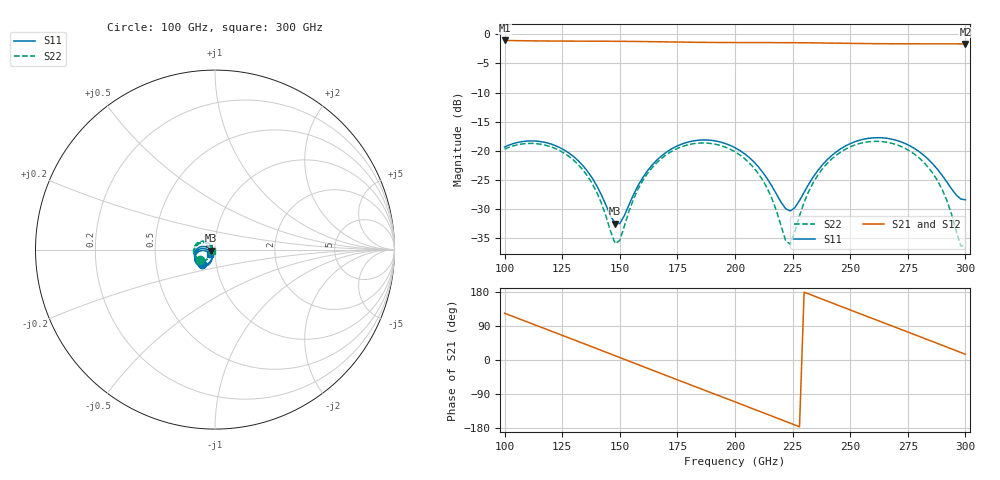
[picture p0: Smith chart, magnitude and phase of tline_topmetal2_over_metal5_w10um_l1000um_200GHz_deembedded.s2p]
! Created with skrf 2.0.1 (http://scikit-rf.org).
# GHz S DB R 50.0
!freq dBS11 angS11 dBS21 angS21 dBS12 angS12 dBS22 angS22
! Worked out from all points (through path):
!   101 points, 100 GHz to 300 GHz, reference 50 ohm
!   highest |S21| = -1.04 dB at 100 GHz (marker M1); lowest = -1.6 dB at 300 GHz (marker M2)
!   group delay of S21, straight-line fit = 6.51 ps
!   lowest |S11| = -32.6 dB at 148 GHz (marker M3), VSWR 1.05, Z = 47.8 - j0.646 ohm
!   |S11| at or under -10 dB: start of sweep to end of sweep
!   |S22| runs from -36.5 to -18.4 dB; largest |S21 - S12| = 4.3e-16
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100  -19.37 -132.1  -1.04 123.4  -1.04 123.4  -19.74 -145.3
116  -18.47 -163.4  -1.12 86.1  -1.12 86.1  -18.92 -179.8
124  -19.49 -178.3  -1.15 67.5  -1.15 67.5  -20.02 163.5
134  -22.60 166.4  -1.16 44.1  -1.16 44.1  -23.33 145.1
140  -26.05 163.1  -1.17 30.0  -1.17 30.0  -27.17 138.9
148  -32.58 -163.3  -1.18 11.2  -1.18 11.2  -36.00 178.4
150  -32.56 -142.7  -1.19 6.5  -1.19 6.5  -35.46 -151.9
158  -25.97 -109.5  -1.22 -12.4  -1.22 -12.4  -26.57 -122.5
168  -20.95 -117.8  -1.27 -35.9  -1.27 -35.9  -21.38 -136.4
184  -18.22 -145.0  -1.36 -73.3  -1.36 -73.3  -18.72 -168.7
200  -19.50 -172.5  -1.40 -110.5  -1.40 -110.5  -20.21 158.4
212  -23.70 174.6  -1.41 -138.6  -1.41 -138.6  -25.07 138.5
222  -30.00 -160.3  -1.42 -162.1  -1.42 -162.1  -35.53 166.2
224  -30.39 -145.4  -1.42 -166.8  -1.42 -166.8  -36.11 -163.1
234  -24.51 -108.2  -1.46 169.6  -1.46 169.6  -25.48 -124.1
242  -20.84 -113.0  -1.50 150.8  -1.50 150.8  -21.43 -135.9
252  -18.48 -127.3  -1.55 127.4  -1.55 127.4  -19.04 -155.5
268  -18.03 -153.8  -1.61 90.1  -1.61 90.1  -18.74 171.1
286  -22.36 -175.5  -1.62 48.1  -1.62 48.1  -23.98 137.3
292  -25.43 -172.2  -1.62 34.0  -1.62 34.0  -28.63 133.5
298  -28.34 -149.5  -1.63 19.8  -1.63 19.8  -36.45 170.1
300  -28.46 -137.5  -1.63 15.1  -1.63 15.1  -36.19 -155.9
